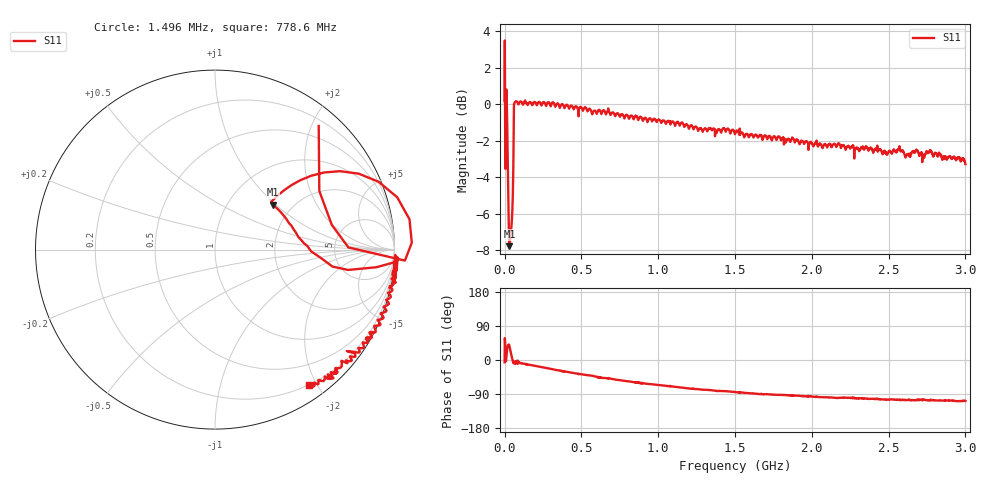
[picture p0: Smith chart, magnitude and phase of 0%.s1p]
# HZ S RI R 50
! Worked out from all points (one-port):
!   2020 points, 10 kHz to 3 GHz, reference 50 ohm
!   lowest |S11| = -7.8 dB at 31.21 MHz (marker M1), VSWR 2.38, Z = 80 + j48 ohm
!   |S11| at or under -10 dB: nowhere
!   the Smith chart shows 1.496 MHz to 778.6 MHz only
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10000  1.014 -0.1062
5953516  0.6509 0.1373
1.635467e7  0.8005 0.4232
1.932643e7  0.6083 0.4298
2.378406e7  0.4299 0.3613
2.675582e7  0.3605 0.3107
3.121346e7  0.323 0.25
3.715698e7  0.3846 0.1863
4.310049e7  0.4384 0.1123
5.350164e7  0.5641 -0.0289
6.39028e7  1.003 -0.0912
7.133219e7  1.014 -0.0729
7.578983e7  1.017 -0.0431
2.436942e8  0.9457 -0.3265
3.759374e8  0.873 -0.4886
6.270509e8  0.6544 -0.6862
7.503789e8  0.5523 -0.7406
1.126306e9  0.2837 -0.847
1.286781e9  0.172 -0.8299
1.500748e9  0.0791 -0.8269
1.653793e9  0.00305 -0.8144
1.875189e9  -0.0528 -0.8057
2.158992e9  -0.1323 -0.7518
2.251117e9  -0.1351 -0.7463
2.625558e9  -0.1932 -0.7037
2.72214e9  -0.183 -0.705
2.766717e9  -0.2136 -0.7145
3e9  -0.2102 -0.6524
